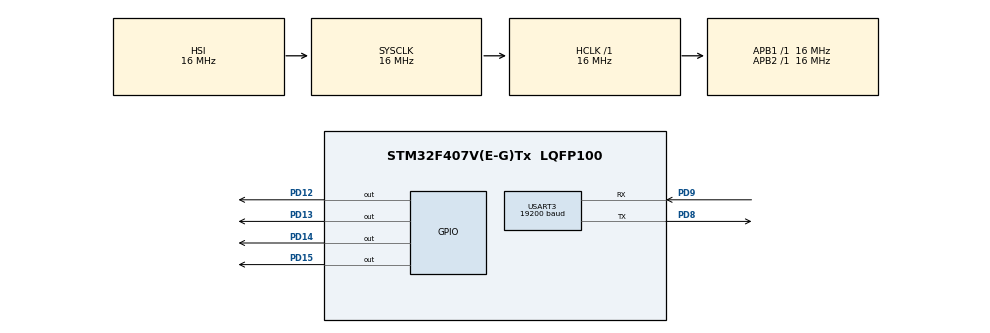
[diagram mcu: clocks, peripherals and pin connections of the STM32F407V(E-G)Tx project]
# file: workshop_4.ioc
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Mcu.Family=STM32F4
Mcu.Name=STM32F407V(E-G)Tx
Mcu.Package=LQFP100
NVIC.PriorityGroup=NVIC_PRIORITYGROUP_4
PD12.Signal=GPIO_Output
PD13.Signal=GPIO_Output
PD14.Signal=GPIO_Output
PD15.Signal=GPIO_Output
PD8.Mode=Asynchronous
PD8.Signal=USART3_TX
PD9.Mode=Asynchronous
PD9.Signal=USART3_RX
ProjectManager.HeapSize=0x200
ProjectManager.StackSize=0x400
ProjectManager.TargetToolchain=STM32CubeIDE
RCC.AHBFreq_Value=16000000
RCC.APB1Freq_Value=16000000
RCC.APB2Freq_Value=16000000
RCC.CortexFreq_Value=16000000
RCC.HSE_VALUE=25000000
RCC.HSI_VALUE=16000000
RCC.LSE_VALUE=32768
RCC.SYSCLKFreq_VALUE=16000000
RCC.VCOOutputFreq_Value=192000000
USART3.BaudRate=19200
USART3.VirtualMode=VM_ASYNC
board=custom

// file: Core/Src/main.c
/* USER CODE BEGIN Header */
/**
  ******************************************************************************
  * @file           : main.c
  * @brief          : Main program body
  ******************************************************************************
  * @attention
  *
  * Copyright (c) 2024 STMicroelectronics.
  * All rights reserved.
  *
  * This software is licensed under terms that can be found in the LICENSE file
  * in the root directory of this software component.
  * If no LICENSE file comes with this software, it is provided AS-IS.
  *
  ******************************************************************************
  */
/* USER CODE END Header */
#include "main.h"

UART_HandleTypeDef huart3;

void SystemClock_Config(void);
static void MX_GPIO_Init(void);
static void MX_USART3_UART_Init(void);

int main(void)
{

  /* MCU Configuration--------------------------------------------------------*/

  /* Reset of all peripherals, Initializes the Flash interface and the Systick. */
  HAL_Init();

  /* Configure the system clock */
  SystemClock_Config();

  /* Initialize all configured peripherals */
  MX_GPIO_Init();
  MX_USART3_UART_Init();

  /* Infinite loop */
  /* USER CODE BEGIN WHILE */

  while (1)
  {
	  uint8_t rcvBuf[1];
	  HAL_StatusTypeDef result;

	  	        result = HAL_UART_Receive(&huart3, rcvBuf, 1, 10);

	  	        if (result == HAL_OK)
	  	        {
	  	            switch (rcvBuf[0])
	  	            {
	  					case 'a':
	  						HAL_GPIO_WritePin(GPIOD, GPIO_PIN_15, GPIO_PIN_SET);
	  						HAL_GPIO_WritePin(GPIOD, GPIO_PIN_14, GPIO_PIN_SET);
	  						HAL_GPIO_WritePin(GPIOD, GPIO_PIN_13, GPIO_PIN_SET);
	  						HAL_GPIO_WritePin(GPIOD, GPIO_PIN_12, GPIO_PIN_SET);
	  						HAL_UART_Transmit(&huart3, (uint8_t *)" - ALL LEDs ON\r\n", 16, 100);
	  						break;
	  					case 's':
	  						HAL_GPIO_WritePin(GPIOD, GPIO_PIN_15, GPIO_PIN_RESET);
							HAL_GPIO_WritePin(GPIOD, GPIO_PIN_14, GPIO_PIN_RESET);
							HAL_GPIO_WritePin(GPIOD, GPIO_PIN_13, GPIO_PIN_RESET);
							HAL_GPIO_WritePin(GPIOD, GPIO_PIN_12, GPIO_PIN_RESET);
							HAL_UART_Transmit(&huart3, (uint8_t *)" - ALL LEDs OFF\r\n", 17, 100);
							break;
	  					case 'd':
	  						HAL_GPIO_WritePin(GPIOD, GPIO_PIN_12, GPIO_PIN_SET);
	  						HAL_UART_Transmit(&huart3, (uint8_t *)" - Green LED ON\r\n", 17, 100);
	  						break;
	  					case 'f':
							HAL_GPIO_WritePin(GPIOD, GPIO_PIN_12, GPIO_PIN_RESET);
							HAL_UART_Transmit(&huart3, (uint8_t *)" - Green LED OFF\r\n", 18, 100);
							break;
	  					case 'g':
							HAL_GPIO_WritePin(GPIOD, GPIO_PIN_13, GPIO_PIN_SET);
							HAL_UART_Transmit(&huart3, (uint8_t *)" - Orange LED ON\r\n", 18, 100);
							break;
	  					case 'h':
							HAL_GPIO_WritePin(GPIOD, GPIO_PIN_13, GPIO_PIN_RESET);
							HAL_UART_Transmit(&huart3, (uint8_t *)" - Orange LED OFF\r\n", 19, 100);
							break;
	  					case 'j':
							HAL_GPIO_WritePin(GPIOD, GPIO_PIN_14, GPIO_PIN_SET);
							HAL_UART_Transmit(&huart3, (uint8_t *)" - Red LED ON\r\n", 15, 100);
							break;
	  					case 'k':
							HAL_GPIO_WritePin(GPIOD, GPIO_PIN_14, GPIO_PIN_RESET);
							HAL_UART_Transmit(&huart3, (uint8_t *)" - Red LED OFF\r\n", 16, 100);
							break;
	  					case 'l':
							HAL_GPIO_WritePin(GPIOD, GPIO_PIN_15, GPIO_PIN_SET);
							HAL_UART_Transmit(&huart3, (uint8_t *)" - Blue LED ON\r\n", 16, 100);
							break;
	  					case 'x':
							HAL_GPIO_WritePin(GPIOD, GPIO_PIN_15, GPIO_PIN_RESET);
							HAL_UART_Transmit(&huart3, (uint8_t *)" - Blue LED OFF\r\n", 17, 100);
							break;
	  					default:
	  						HAL_UART_Transmit(&huart3, (uint8_t *)" - UnexpCmd\r\n", 13, 100);
	  						break;
	  	            }

    /* USER CODE END WHILE */

  }
}
}

void SystemClock_Config(void)
{
  RCC_OscInitTypeDef RCC_OscInitStruct = {0};
  RCC_ClkInitTypeDef RCC_ClkInitStruct = {0};

  /** Configure the main internal regulator output voltage
  */
  __HAL_RCC_PWR_CLK_ENABLE();
  __HAL_PWR_VOLTAGESCALING_CONFIG(PWR_REGULATOR_VOLTAGE_SCALE1);

  /** Initializes the RCC Oscillators according to the specified parameters
  * in the RCC_OscInitTypeDef structure.
  */
  RCC_OscInitStruct.OscillatorType = RCC_OSCILLATORTYPE_HSI;
  RCC_OscInitStruct.HSIState = RCC_HSI_ON;
  RCC_OscInitStruct.HSICalibrationValue = RCC_HSICALIBRATION_DEFAULT;
  RCC_OscInitStruct.PLL.PLLState = RCC_PLL_NONE;
  if (HAL_RCC_OscConfig(&RCC_OscInitStruct) != HAL_OK)
  {
    Error_Handler();
  }

  /** Initializes the CPU, AHB and APB buses clocks
  */
  RCC_ClkInitStruct.ClockType = RCC_CLOCKTYPE_HCLK|RCC_CLOCKTYPE_SYSCLK
                              |RCC_CLOCKTYPE_PCLK1|RCC_CLOCKTYPE_PCLK2;
  RCC_ClkInitStruct.SYSCLKSource = RCC_SYSCLKSOURCE_HSI;
  RCC_ClkInitStruct.AHBCLKDivider = RCC_SYSCLK_DIV1;
  RCC_ClkInitStruct.APB1CLKDivider = RCC_HCLK_DIV1;
  RCC_ClkInitStruct.APB2CLKDivider = RCC_HCLK_DIV1;

  if (HAL_RCC_ClockConfig(&RCC_ClkInitStruct, FLASH_LATENCY_0) != HAL_OK)
  {
    Error_Handler();
  }
}

static void MX_USART3_UART_Init(void)
{

  huart3.Instance = USART3;
  huart3.Init.BaudRate = 19200;
  huart3.Init.WordLength = UART_WORDLENGTH_8B;
  huart3.Init.StopBits = UART_STOPBITS_1;
  huart3.Init.Parity = UART_PARITY_NONE;
  huart3.Init.Mode = UART_MODE_TX_RX;
  huart3.Init.HwFlowCtl = UART_HWCONTROL_NONE;
  huart3.Init.OverSampling = UART_OVERSAMPLING_16;
  if (HAL_UART_Init(&huart3) != HAL_OK)
  {
    Error_Handler();
  }
}

static void MX_GPIO_Init(void)
{
  GPIO_InitTypeDef GPIO_InitStruct = {0};

  /* GPIO Ports Clock Enable */
  __HAL_RCC_GPIOD_CLK_ENABLE();

  /*Configure GPIO pin Output Level */
  HAL_GPIO_WritePin(GPIOD, GPIO_PIN_12|GPIO_PIN_13|GPIO_PIN_14|GPIO_PIN_15, GPIO_PIN_RESET);

  /*Configure GPIO pins : PD12 PD13 PD14 PD15 */
  GPIO_InitStruct.Pin = GPIO_PIN_12|GPIO_PIN_13|GPIO_PIN_14|GPIO_PIN_15;
  GPIO_InitStruct.Mode = GPIO_MODE_OUTPUT_PP;
  GPIO_InitStruct.Pull = GPIO_NOPULL;
  GPIO_InitStruct.Speed = GPIO_SPEED_FREQ_LOW;
  HAL_GPIO_Init(GPIOD, &GPIO_InitStruct);

}

void Error_Handler(void)
{
  __disable_irq();
  while (1)
  {
  }
}
